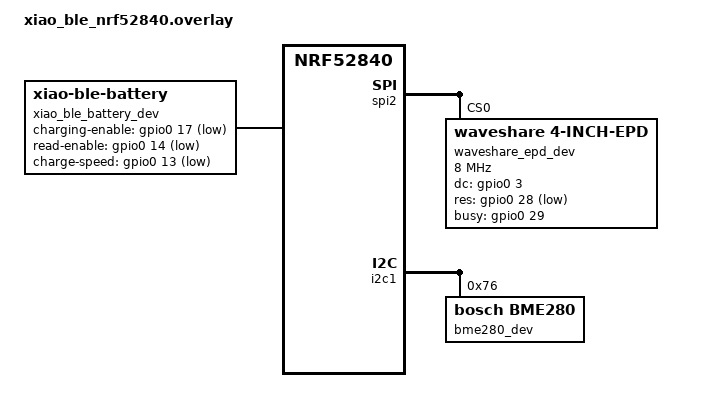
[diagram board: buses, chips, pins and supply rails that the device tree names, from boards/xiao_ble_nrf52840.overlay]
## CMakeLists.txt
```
cmake_minimum_required(VERSION 3.20.0)
find_package(Zephyr REQUIRED HINTS $ENV{ZEPHYR_BASE})

project(xiao-weather-frame)

file(GLOB src src/*.c)
target_sources(app PRIVATE ${src})
```

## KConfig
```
source "Kconfig.zephyr"

menu "XIAO Sense Weather Display Frame configuration"

config BT_CENTRAL_DEVICE_SUBSCRIBE
    bool "Subscribe to device attribute notifications; otherwise, use periodic polling"
    default y

config EPD_MAX_UPDATE_DELAY_MS 
    int "EPD maximum update delay in milliseconds"
    default 60000

config EPD_MIN_UPDATE_DELAY_MS
    int "EPD minimum update delay in milliseconds"
    default 5000

config SAMPLING_INTERVAL_REMOTE_MS
    int "Remote BT device periodic polling interval in milliseconds"
    default 300000

config SAMPLING_INTERVAL_LOCAL_MS
    int "Onboard sensors sampling interval in milliseconds"
    default 30000

config PRESSURE_OFFSET_HPA 
    int "Pressure offset in hPa"
    default 37
endmenu
```

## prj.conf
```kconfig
CONFIG_GPIO=y
CONFIG_ADC=y
CONFIG_SPI=y

CONFIG_SENSOR=y
CONFIG_SENSOR_ASYNC_API=y
CONFIG_BME280_MODE_FORCED=y

CONFIG_USB_DEVICE_STACK_NEXT=y
CONFIG_CDC_ACM_SERIAL_PRODUCT_STRING="XIAO-Weather-Frame"
CONFIG_CDC_ACM_SERIAL_PID=0x0006
CONFIG_CDC_ACM_SERIAL_VID=0x2FE3
CONFIG_CDC_ACM_SERIAL_INITIALIZE_AT_BOOT=y
# Fix: <err> udc: Failed to allocate net_buf 4095, ep 0x80
CONFIG_UDC_BUF_POOL_SIZE=8192

CONFIG_SERIAL=y
CONFIG_CONSOLE=y
CONFIG_LOG=y

CONFIG_BT=y
CONFIG_BT_CENTRAL=y
CONFIG_BT_SMP=y
CONFIG_BT_GATT_CLIENT=y
CONFIG_BT_CTLR_TX_PWR_DYNAMIC_CONTROL=y

CONFIG_BT_CENTRAL_DEVICE_SUBSCRIBE=n
```

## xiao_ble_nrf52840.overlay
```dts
/ {
    xiao_ble_battery_dev: xiao_ble_battery_dev {
        compatible = "xiao-ble-battery";
        charging-enable-gpios = <&gpio0 17 GPIO_ACTIVE_LOW>;
        read-enable-gpios = <&gpio0 14 GPIO_ACTIVE_LOW>;
        charge-speed-gpios = <&gpio0 13 GPIO_ACTIVE_LOW>;
        adc-channel = <NRF_SAADC_AIN7>;
        adc-total-samples = <12>;
        adc-filtering-algorithm = "trimmed-mean";
    };
};

&pwm0 {
    status = "disabled";
};

&spi2 {
    status = "okay";

    waveshare_epd_dev: waveshare_epd_dev@0 {
        compatible = "waveshare,4-inch-epd";
        status = "okay";
        reg = <0x0>;
        spi-max-frequency = <8000000>;
        cs-gpios = <&gpio0 2 GPIO_ACTIVE_LOW>;
        dc-gpios = <&gpio0 3 GPIO_ACTIVE_HIGH>;
        res-gpios = <&gpio0 28 GPIO_ACTIVE_LOW>;
        busy-gpios = <&gpio0 29 GPIO_ACTIVE_HIGH>;
    };
};
```

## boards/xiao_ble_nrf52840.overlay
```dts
/ {
    xiao_ble_battery_dev: xiao_ble_battery_dev {
        compatible = "xiao-ble-battery";
        charging-enable-gpios = <&gpio0 17 GPIO_ACTIVE_LOW>;
        read-enable-gpios = <&gpio0 14 GPIO_ACTIVE_LOW>;
        charge-speed-gpios = <&gpio0 13 GPIO_ACTIVE_LOW>;
        adc-channel = <NRF_SAADC_AIN7>;
        adc-total-samples = <12>;
        adc-filtering-algorithm = "trimmed-mean";
    };
};

&pwm0 {
    status = "disabled";
};

&spi2 {
    status = "okay";

    waveshare_epd_dev: waveshare_epd_dev@0 {
        compatible = "waveshare,4-inch-epd";
        status = "okay";
        reg = <0x0>;
        spi-max-frequency = <8000000>;
        cs-gpios = <&gpio0 2 GPIO_ACTIVE_LOW>;
        dc-gpios = <&gpio0 3 GPIO_ACTIVE_HIGH>;
        res-gpios = <&gpio0 28 GPIO_ACTIVE_LOW>;
        busy-gpios = <&gpio0 29 GPIO_ACTIVE_HIGH>;
    };
};

&i2c1 {
    bme280_dev: bme280@76 {
        compatible = "bosch,bme280";
        status = "okay";
        reg = <0x76>;
    };
};
```

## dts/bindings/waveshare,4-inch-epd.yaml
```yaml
description: Waveshare 4.2inch e-Paper display module bindings

compatible: "waveshare,4-inch-epd"

include: [spi-device.yaml]

properties:
  cs-gpios:
    type: phandle-array
    required: true
    description: |
      CS (chip select) gpio pin

  res-gpios:
    type: phandle-array
    required: true
    description: |
      RES (reset) gpio pin

  dc-gpios:
    type: phandle-array
    required: true
    description: |
      DC (data/command) gpio pin

  busy-gpios:
    type: phandle-array
    required: true
    description: |
      BUSY (busy) gpio 
```

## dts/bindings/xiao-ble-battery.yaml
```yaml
description: binding for XIAO BLE Battery Management Library

compatible: "xiao-ble-battery"

properties:
  charging-enable-gpios:
    type: phandle-array
    required: true
    description: |
      GPIO used to enable charging

  read-enable-gpios:
    type: phandle-array
    required: true
    description: GPIO used to enable the readout of the charging voltage

  charge-speed-gpios:
    type: phandle-array
    required: true
    description: GPIO used to select the charging speed (high = 100mA, low = 50mA)

  adc-input-id:
    type: int
    default: 7
    description: ADC channel id

  adc-gain:
    type: int
    default: 0
    description: ADC channel gain factor. ADC-reference * 6 = 3.6V

  adc-reference:
    type: int
    default: 4
    description: ADC reference. usually 0.6V.

  adc-channel:
    type: int
    required: true
    description: ADC channel to read out the battery voltage. Usually AIN7.

  adc-channel-id:
    type: int
    default: 7
    description: ADC channel to read out the battery voltage

  adc-resolution:
    type: int
    default: 12
    description: ADC resolution

  adc-sample-interval:
    type: int
    default: 500
    description: defines the time between each sample in [us].

  adc-total-samples:
    type: int
    default: 10
    description: |
      Change this to a higher number for better averages
      Note that increasing this holds up the thread / ADC for longer.

  adc-filtering-algorithm:
    type: string
    default: "average"
    description: ADC sample filtering algorithm
    enum:
      - "average"
      - "trimmed-mean"

  adc-acquisition-time:
      type: int
      default: 0
      description: ADC Acquisition time

  battery-callbacks-max:
      type: int
      default: 3
      description: |
        Defines the number of battery callbacks.
        Feel free to increas it if necessary.
```

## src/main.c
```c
#include <math.h>
#include <zephyr/bluetooth/bluetooth.h>
#include <zephyr/drivers/gpio.h>
#include <zephyr/kernel.h>
#include <zephyr/logging/log.h>

#include "battery.h"
#include "bme280.h"
#include "bt_central.h"
#include "epd.h"
#include "fonts.h"
#include "icons.h"
#include "sensor.h"

LOG_MODULE_REGISTER(main, LOG_LEVEL_INF);

static uint8_t frame_buffer[EPD_FRAME_BUFFER_SIZE] = {0};

static volatile bool local_battery_is_charging;
static volatile uint16_t local_battery_last_millivolt;
static volatile uint8_t local_battery_level;
static volatile int16_t local_temperature;
static volatile int16_t local_pressure;
static volatile int16_t local_humidity;

static volatile uint8_t remote_values_ready_mask = 0;
static volatile uint8_t remote_battery_level;
static volatile int16_t remote_temperature;
static volatile int16_t remote_humidity;
static volatile int16_t remote_pressure;

#define REMOTE_VALUES_ARE_READY() (remote_values_ready_mask == 0x0F)

static int local_battery_voltage_sample_once()
{
    int err;
    uint16_t battery_millivolt;
    uint8_t battery_level;

    err = battery_get_millivolt(&battery_millivolt);
    if (err) {
        LOG_ERR("Failed to get battery millivolts (err %d)", err);
        return err;
    }
    err = battery_get_percentage(&battery_level, battery_millivolt);
    if (err) {
        LOG_ERR("Failed to calculate battery percentage (err %d)", err);
        return err;
    }

    local_battery_level = battery_level;
    local_battery_last_millivolt = battery_millivolt;

    return 0;
}

static void local_battery_voltage_sample_callback(uint16_t millivolt)
{
    uint8_t percentage = 0;

    if (local_battery_is_charging && millivolt < local_battery_last_millivolt) {
        millivolt = local_battery_last_millivolt;
    } else if (!local_battery_is_charging && millivolt > local_battery_last_millivolt) {
        millivolt = local_battery_last_millivolt;
    }
    local_battery_last_millivolt = millivolt;

    int err = battery_get_percentage(&percentage, millivolt);
    if (err) {
        LOG_ERR("Failed to calculate battery percentage (err %d)", err);
        return;
    }
    local_battery_level = percentage;

    LOG_INF("Battery is at %d mV (capacity %d%%, %s)", millivolt, percentage,
            local_battery_is_charging ? "charging" : "discharging");
}

static void local_battery_charging_state_callback(bool connected)
{
    local_battery_is_charging = connected;
    LOG_INF("Charger %s", connected ? "connected" : "disconnected");
}

static void local_temperature_callback(int16_t value)
{
    local_temperature = value;
}

static void local_humidity_callback(int16_t value)
{
    local_humidity = value;
}

static void local_pressure_callback(int16_t value)
{
    local_pressure = value;
}

static void remote_battery_level_callback(uint8_t value)
{
    remote_battery_level = value;
    remote_values_ready_mask |= 0x01;
}

static void remote_temperature_callback(int16_t value)
{
    remote_temperature = value;
    remote_values_ready_mask |= 0x02;
}

static void remote_humidity_callback(int16_t value)
{
    remote_humidity = value;
    remote_values_ready_mask |= 0x04;
}

static void remote_pressure_callback(int16_t value)
{
    remote_pressure = value;
    remote_values_ready_mask |= 0x08;
}

static void remote_connection_callback(bool connected)
{
#if CONFIG_BT_CENTRAL_DEVICE_SUBSCRIBE
    if (!connected) {
        remote_values_ready_mask = 0;
    }
#endif
}

static void draw_static_icons(void)
{
    epd_draw_icon(&IconBattery, frame_buffer, 184, 10, EPD_COLOR_BLACK, true);
    epd_draw_icon(&IconTemperature, frame_buffer, 184, 80, EPD_COLOR_BLACK, true);
    epd_draw_icon(&IconHumidity, frame_buffer, 176, 150, EPD_COLOR_BLACK, true);
    epd_draw_icon(&IconPressure, frame_buffer, 280, 220, EPD_COLOR_BLACK, true);
    epd_draw_icon(&IconRemote, frame_buffer, 2, 8, EPD_COLOR_BLACK, true);
    epd_draw_icon(&IconLocal, frame_buffer, 332, 8, EPD_COLOR_BLACK, true);
}

static void draw_connection_icon(void)
{
    epd_draw_icon(&IconConnection, frame_buffer, 10, 250, EPD_COLOR_BLACK, true);
}

static void draw_charging_icon(void)
{
    epd_draw_icon(&IconCharge, frame_buffer, 358, 250, EPD_COLOR_BLACK, true);
}

static void draw_remote_values(void)
{
    char buff[16];
    uint8_t batt = remote_battery_level;
    int16_t temp = remote_temperature;
    int16_t hum = remote_humidity;
    int16_t press = remote_pressure;

    sprintf(buff, "%5u%%", batt);
    epd_draw_string(buff, &FontRobotoBold40, frame_buffer, 21, 20, EPD_COLOR_BLACK, false);

    sprintf(buff, "%+3i.%iC", SENSOR_VAL_FORMAT_SHORT(temp));
    epd_draw_string(buff, &FontRobotoBold40, frame_buffer, 21, 90, EPD_COLOR_BLACK, false);

    sprintf(buff, "%3i.%i%%", SENSOR_VAL_FORMAT_SHORT(hum));
    epd_draw_string(buff, &FontRobotoBold40, frame_buffer, 21, 160, EPD_COLOR_BLACK, false);

    sprintf(buff, "%4ihPa", press + CONFIG_PRESSURE_OFFSET_HPA);
    epd_draw_string(buff, &FontRobotoBold40, frame_buffer, 90, 230, EPD_COLOR_BLACK, false);
}

static void draw_local_values(void)
{
    char buff[16];
    uint8_t batt = local_battery_level;
    int16_t temp = local_temperature;
    int16_t hum = local_humidity;

    sprintf(buff, "%u%%", batt);
    epd_draw_string(buff, &FontRobotoBold40, frame_buffer, 228, 20, EPD_COLOR_BLACK, false);

    sprintf(buff, "%+i.%iC", SENSOR_VAL_FORMAT_SHORT(temp));
    epd_draw_string(buff, &FontRobotoBold40, frame_buffer, 228, 90, EPD_COLOR_BLACK, false);

    sprintf(buff, "%i.%i%%", SENSOR_VAL_FORMAT_SHORT(hum));
    epd_draw_string(buff, &FontRobotoBold40, frame_buffer, 228, 160, EPD_COLOR_BLACK, false);
}

int initialize(void)
{
    int err;

    err = bt_enable(NULL);
    if (err) {
        LOG_ERR("Unable to initialize Bluetooth (err %d)", err);
        return err;
    }

    err = bme280_init();
    if (err) {
        LOG_ERR("Failed to initialize bme280 device (error %d)", err);
        return err;
    }

    err = battery_init();
    if (err) {
        LOG_ERR("Failed to initialize battery management (error %d)", err);
        return err;
    }

    err = battery_register_charging_callback(local_battery_charging_state_callback);
    if (err) {
        LOG_ERR("Failed to register charging callback (error %d)", err);
        return err;
    }

    err = battery_register_sample_callback(local_battery_voltage_sample_callback);
    if (err) {
        LOG_ERR("Failed to register sample callback (error %d)", err);
        return err;
    }

    err = battery_set_fast_charge();
    if (err) {
        LOG_ERR("Failed to set battery fast charging (error %d)", err);
        return err;
    }

    bme280_register_temperature_callback(local_temperature_callback);
    bme280_register_humidity_callback(local_humidity_callback);
    bme280_register_pressure_callback(local_pressure_callback);
    err = bme280_sample_once();
    if (err) {
        LOG_ERR("Failed to read bme280 sensor data (error %d)", err);
        return err;
    }
    bme280_start_sampling(CONFIG_SAMPLING_INTERVAL_LOCAL_MS);

    local_battery_is_charging = battery_is_charging();
    err = local_battery_voltage_sample_once();
    if (err) {
        LOG_ERR("Failed to sample battery voltage (error %d)", err);
        return err;
    }
    battery_start_sampling(CONFIG_SAMPLING_INTERVAL_LOCAL_MS);

    bt_central_register_battery_level_callback(remote_battery_level_callback);
    bt_central_register_temperature_callback(remote_temperature_callback);
    bt_central_register_humidity_callback(remote_humidity_callback);
    bt_central_register_pressure_callback(remote_pressure_callback);
    bt_central_register_connection_callback(remote_connection_callback);

    return 0;
}

int main(void)
{
    int err;
    int epd_update_ticker = 0;
#ifndef CONFIG_BT_CENTRAL_DEVICE_SUBSCRIBE
    int bt_start_scan_ticker = 0;
#endif
    bool ready = false;
    bool charging = false;
    bool can_display_remote_values = false;
    bool remote_values_are_ready = false;

    err = initialize();
    if (err) {
        return err;
    }

#if CONFIG_BT_CENTRAL_DEVICE_SUBSCRIBE
    bt_central_start_scan();
#endif

    while (1) {
        remote_values_are_ready = REMOTE_VALUES_ARE_READY();
        if (remote_values_are_ready) {
            can_display_remote_values = true;
        }
        if (ready != remote_values_are_ready) {
            ready = remote_values_are_ready;
            epd_update_ticker = 0;
        }
        if (charging != local_battery_is_charging) {
            charging = local_battery_is_charging;
            epd_update_ticker = 0;
        }

        if (epd_update_ticker <= 0) {
            if (epd_init()) {
                LOG_ERR("Unable to initialize e-Paper display");
                return -EIO;
            }
            epd_fill(frame_buffer, EPD_COLOR_WHITE);
            if (can_display_remote_values) {
                draw_remote_values();
            }
            draw_local_values();
            draw_static_icons();
            if (!ready) {
                draw_connection_icon();
            }
            if (charging) {
                draw_charging_icon();
            }
            epd_display(frame_buffer);
            epd_sleep();
            epd_update_ticker = CONFIG_EPD_MAX_UPDATE_DELAY_MS / CONFIG_EPD_MIN_UPDATE_DELAY_MS;
        }

#ifndef CONFIG_BT_CENTRAL_DEVICE_SUBSCRIBE
        if (!bt_central_discovery_in_progress() && (bt_start_scan_ticker <= 0 || !REMOTE_VALUES_ARE_READY())) {
            bt_central_start_scan();
            remote_values_ready_mask = 0;
            bt_start_scan_ticker = CONFIG_SAMPLING_INTERVAL_REMOTE_MS / CONFIG_EPD_MIN_UPDATE_DELAY_MS;
        }
        bt_start_scan_ticker--;
#endif
        epd_update_ticker--;

        k_msleep(CONFIG_EPD_MIN_UPDATE_DELAY_MS);
    }

    return 0;
}
```

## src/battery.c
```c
/*
 * Copyright 2024 Marcus Alexander Tjomsaas
 *
 * Licensed under the Apache License, Version 2.0 (the "License");
 * you may not use this file except in compliance with the License.
 * You may obtain a copy of the License at
 *
 *     http://www.apache.org/licenses/LICENSE-2.0
 *
 * Unless required by applicable law or agreed to in writing, software
 * distributed under the License is distributed on an "AS IS" BASIS,
 * WITHOUT WARRANTIES OR CONDITIONS OF ANY KIND, either express or implied.
 * See the License for the specific language governing permissions and
 * limitations under the License.
 */

#include "battery.h"

#include <zephyr/kernel.h>
#include <zephyr/device.h>
#include <zephyr/devicetree.h>
#include <zephyr/drivers/gpio.h>
#include <zephyr/drivers/adc.h>
#include <zephyr/logging/log.h>

LOG_MODULE_REGISTER(battery, LOG_LEVEL_INF);

#if !DT_NODE_EXISTS(DT_NODELABEL(xiao_ble_battery_dev))
#error "Overlay for xiao_ble_battery_dev node not properly defined."
#endif

#define BATTERY_NODE DT_NODELABEL(xiao_ble_battery_dev)
#define BATTERY_CALLBACK_MAX DT_PROP(BATTERY_NODE, battery_callbacks_max)

// Change this to a higher number for better averages
// Note that increasing this holds up the thread / ADC for longer.
#define ADC_TOTAL_SAMPLES DT_PROP(BATTERY_NODE, adc_total_samples)

//--------------------------------------------------------------
// ADC setup

#define ADC_FILTERING_ALGORITHM_AVERAGE       0
#define ADC_FILTERING_ALGORITHM_TRIMMED_MEAN  1

#define ADC_RESOLUTION          DT_PROP(BATTERY_NODE, adc_resolution) 
#define ADC_CHANNEL             DT_PROP(BATTERY_NODE, adc_channel_id) 
#define ADC_PORT                DT_PROP(BATTERY_NODE, adc_channel) 
#define ADC_REFERENCE           DT_PROP(BATTERY_NODE, adc_reference)
#define ADC_GAIN                DT_PROP(BATTERY_NODE, adc_gain) 
#define ADC_SAMPLE_INTERVAL_US  DT_PROP(BATTERY_NODE, adc_sample_interval)
#define ADC_ACQUISITION_TIME    DT_PROP(BATTERY_NODE, adc_acquisition_time) 
#define ADC_FILTERING_ALGORITHM DT_ENUM_IDX(BATTERY_NODE, adc_filtering_algorithm)

#if ADC_FILTERING_ALGORITHM == ADC_FILTERING_ALGORITHM_TRIMMED_MEAN
#include <stdlib.h>
#endif

static struct adc_channel_cfg channel_7_cfg = {
    .gain = ADC_GAIN,
    .reference = ADC_REFERENCE,
    .acquisition_time = ADC_ACQUISITION_TIME,
    .channel_id = ADC_CHANNEL,
#ifdef CONFIG_ADC_NRFX_SAADC
    .input_positive = ADC_PORT
#endif
};

static struct adc_sequence_options options = {
    .extra_samplings = ADC_TOTAL_SAMPLES - 1,
    .interval_us = ADC_SAMPLE_INTERVAL_US,
};

static int16_t sample_buffer[ADC_TOTAL_SAMPLES];
static struct adc_sequence sequence = {
    .options = &options,
    .channels = BIT(ADC_CHANNEL),
    .buffer = sample_buffer,
    .buffer_size = sizeof(sample_buffer),
    .resolution = ADC_RESOLUTION,
};

//--------------------------------------------------------------
// Local variables

// MCU peripherals for reading battery voltage
static const struct device *adc_battery_dev = DEVICE_DT_GET(DT_NODELABEL(adc));

static const struct gpio_dt_spec charging_enable = GPIO_DT_SPEC_GET_OR(BATTERY_NODE, charging_enable_gpios, {0});
static const struct gpio_dt_spec read_enable = GPIO_DT_SPEC_GET_OR(BATTERY_NODE, read_enable_gpios, {0});
static const struct gpio_dt_spec charge_speed = GPIO_DT_SPEC_GET_OR(BATTERY_NODE, charge_speed_gpios, {0});

// Battery work and work queue
static struct k_work_delayable sample_periodic_work;
static struct k_work sample_once_work;

// Charging interrupt
static struct gpio_callback charging_callback;
static struct k_work charging_interrupt_work;

// Callbacks for change in charging
static battery_charging_callback_t charging_callbacks[BATTERY_CALLBACK_MAX];
static size_t charging_callbacks_registered = 0;

// Callbacks for when a battery sample is ready
static battery_sample_callback_t sample_ready_callback[BATTERY_CALLBACK_MAX];
static size_t sample_ready_callbacks_registered = 0;

static uint32_t sampling_interval_ms;
static uint8_t is_initialized = false;

static K_MUTEX_DEFINE(battery_mut);

typedef struct
{
    uint16_t voltage;
    uint8_t percentage;
} BatteryState;

#define BATTERY_STATES_COUNT 11
// Voltage levels in millivolts and corresponding percentages for a typical LiPo battery.
// Adjust these values based on your battery's datasheet for better accuracy.
static BatteryState battery_states[BATTERY_STATES_COUNT] = {
    {4200, 100}, // Fully charged
    {4110, 90},
    {4020, 80},
    {3930, 70},
    {3840, 60},
    {3750, 50},
    {3660, 40},
    {3570, 30},
    {3480, 20},
    {3390, 10},
    {3300, 0} // Minimum safe voltage
};

//------------------------------------------------------------------------------------------
// Private functions

static int battery_enable_read()
{
    return gpio_pin_set_dt(&read_enable, 1);
}

static void run_charging_callbacks(struct k_work *work)
{
    bool is_charging = gpio_pin_get_dt(&charging_enable);
    LOG_DBG("Charger %s", is_charging ? "connected" : "disconnected");

    for (uint8_t callback = 0; callback < charging_callbacks_registered; callback++)
    {
        charging_callbacks[callback](is_charging);
    }
}

static void run_sample_ready_callbacks(uint32_t millivolt)
{

    for (uint8_t callback = 0; callback < sample_ready_callbacks_registered; callback++)
    {
        sample_ready_callback[callback](millivolt);
    }
}

static void charging_callback_handler(const struct device *dev,
                                      struct gpio_callback *cb,
                                      uint32_t pins)
{
    k_work_submit(&charging_interrupt_work);
}

static void sample_periodic_handler(struct k_work *work)
{
    uint16_t millivolt;
    int ret = battery_get_millivolt(&millivolt);
    if (ret)
    {
        LOG_ERR("Failed to get battery voltage");
        goto reschedule;
    }

    // Run all the callbacks waiting for a voltage reading.
    run_sample_ready_callbacks(millivolt);

reschedule:
    k_work_reschedule(&sample_periodic_work, K_MSEC(sampling_interval_ms));
}

static void sample_once_handler(struct k_work *work)
{
    uint16_t millivolt;
    int ret = battery_get_millivolt(&millivolt);
    if (ret)
    {
        LOG_ERR("Failed to get battery voltage");
        return;
    }

    // Run all the callbacks waiting for voltage readings.
    run_sample_ready_callbacks(millivolt);
}

#if ADC_FILTERING_ALGORITHM == ADC_FILTERING_ALGORITHM_TRIMMED_MEAN
static int sample_buffer_compare(const void *a, const void *b)
{
    return (*(int16_t*)a - *(int16_t*)b);
}
#endif

//------------------------------------------------------------------------------------------
// Public functions

int battery_register_charging_callback(battery_charging_callback_t callback)
{
    if (charging_callbacks_registered == BATTERY_CALLBACK_MAX)
    {
        LOG_ERR("Maximum number of callbacks reached, operation aborted");
        return -ENOMEM;
    }

    charging_callbacks[charging_callbacks_registered++] = callback;

    return 0;
}

int battery_register_sample_callback(battery_sample_callback_t callback)
{
    if (sample_ready_callbacks_registered == BATTERY_CALLBACK_MAX)
    {
        LOG_ERR("Maximum number of callbacks reached, operation aborted");
        return -ENOMEM;
    }

    sample_ready_callback[sample_ready_callbacks_registered++] = callback;
    return 0;
}

int battery_set_fast_charge()
{
    if (!is_initialized)
    {
        return -ECANCELED;
    }

    return gpio_pin_set_dt(&charge_speed, 1); // FAST charge 100mA
}

int battery_set_slow_charge()
{
    if (!is_initialized)
    {
        return -ECANCELED;
    }

    return gpio_pin_set_dt(&charge_speed, 0); // SLOW charge 50mA
}

int battery_get_millivolt(uint16_t *battery_millivolt)
{

    int ret = 0;

    // Voltage divider circuit (Should tune R1 in software if possible)
    const uint16_t R1 = 1037; // Originally 1M ohm, calibrated after measuring actual voltage values. Can happen due to resistor tolerances, temperature ect..
    const uint16_t R2 = 510;  // 510K ohm

    // ADC measure
    uint16_t adc_vref = adc_ref_internal(adc_battery_dev);

    ret = k_mutex_lock(&battery_mut, K_SECONDS(10));
    if (ret < 0)
    {
        LOG_ERR("Cannot get battery voltage as mutex is locked");
        return ret;
    }

    ret |= adc_read(adc_battery_dev, &sequence);

    if (ret)
    {
        LOG_WRN("ADC read failed (error %d)", ret);
    }

    uint32_t adc_sum = 0;
    #if ADC_FILTERING_ALGORITHM == ADC_FILTERING_ALGORITHM_TRIMMED_MEAN
    // Get 25% trimmed mean sample value.
    qsort(sample_buffer, ADC_TOTAL_SAMPLES, sizeof(int16_t), sample_buffer_compare);
    for (uint8_t sample = ADC_TOTAL_SAMPLES / 4; sample < ADC_TOTAL_SAMPLES / 4 + ADC_TOTAL_SAMPLES / 2; sample++)
    {
        adc_sum += sample_buffer[sample]; // ADC value, not millivolt yet.
    }
    uint32_t adc_average = adc_sum / (ADC_TOTAL_SAMPLES / 2);
    #else
    // Get average sample value.
    for (uint8_t sample = 0; sample < ADC_TOTAL_SAMPLES; sample++)
    {
        adc_sum += sample_buffer[sample]; // ADC value, not millivolt yet.
    }
    uint32_t adc_average = adc_sum / ADC_TOTAL_SAMPLES;
    #endif

    // Convert ADC value to millivolts
    uint32_t adc_mv = adc_average;
    ret |= adc_raw_to_millivolts(adc_vref, ADC_GAIN, ADC_RESOLUTION, &adc_mv);

    // Calculate battery voltage.
    float scale_factor = ((float)(R1 + R2)) / R2;
    *battery_millivolt = (uint16_t)(adc_mv * scale_factor);

    k_mutex_unlock(&battery_mut);

    LOG_DBG("%d mV", *battery_millivolt);
    return ret;
}

int battery_get_percentage(uint8_t *battery_percentage, uint16_t battery_millivolt)
{
    // Ensure voltage is within bounds
    if (battery_millivolt >= battery_states[0].voltage)
    {
        *battery_percentage = 100;
        return 0;
    }
    else if (battery_millivolt <= battery_states[BATTERY_STATES_COUNT - 1].voltage)
    {
        *battery_percentage = 0;
        return 0;
    }

    for (uint16_t i = 0; i < BATTERY_STATES_COUNT - 1; i++)
    {
        uint16_t voltage_high = battery_states[i].voltage;
        uint16_t voltage_low = battery_states[i + 1].voltage;

        // Find the two points between which battery_millivolt lies
        if (battery_millivolt <= voltage_high && battery_millivolt >= voltage_low)
        {
            uint8_t percentage_high = battery_states[i].percentage;
            uint8_t percentage_low = battery_states[i + 1].percentage;

            int32_t voltage_range = voltage_high - voltage_low;          // Should be positive
            int32_t percentage_range = percentage_high - percentage_low; // Should be positive
            int32_t voltage_diff = battery_millivolt - voltage_low;      // Non-negative

            if (voltage_range == 0)
            {
                *battery_percentage = percentage_high;
            }
            else
            {
                *battery_percentage = percentage_low + (voltage_diff * percentage_range) / voltage_range;
            }

            LOG_DBG("%d %%", *battery_percentage);
            return 0;
        }
    }

    // If voltage is not within any defined range
    return -ESPIPE;
}

int battery_start_sampling(uint32_t interval_ms)
{
    if (interval_ms == 0)
    {
        LOG_ERR("Sampling interval must be greater than zero");
        return -EINVAL;
    }

    sampling_interval_ms = interval_ms;
    k_work_schedule(&sample_periodic_work, K_MSEC(interval_ms));

    LOG_INF("Start sampling battery voltage at %d ms", interval_ms);
    return 0;
}

int battery_stop_sampling(void)
{
    k_work_cancel_delayable(&sample_periodic_work);
    LOG_INF("Stopped periodic sampling of battery voltage");
    return 0;
}

int battery_sample_once(void)
{
    k_work_submit(&sample_once_work);
    return 0;
}

bool battery_is_charging(void)
{
    return gpio_pin_get_dt(&charging_enable);
}

int battery_init()
{
    int ret = 0;

    // ADC setup
    if (!device_is_ready(adc_battery_dev))
    {
        LOG_ERR("ADC device not found!");
        return -EIO;
    }

    ret |= adc_channel_setup(adc_battery_dev, &channel_7_cfg);
    if (ret)
    {
        LOG_ERR("ADC setup failed (error %d)", ret);
        return ret;
    }

    // GPIO setup
    if (!gpio_is_ready_dt(&charging_enable))
    {
        LOG_ERR("GPIO charging_enable not found!");
        return -EIO;
    }

    if (!gpio_is_ready_dt(&read_enable))
    {
        LOG_ERR("GPIO read_enable not found!");
        return -EIO;
    }

    if (!gpio_is_ready_dt(&charge_speed))
    {
        LOG_ERR("GPIO charge_speed not found!");
        return -EIO;
    }

    ret |= gpio_pin_configure_dt(&charging_enable, GPIO_INPUT | GPIO_ACTIVE_LOW);
    if (ret)
    {
        LOG_ERR("Failed to configure GPIO_BATTERY_CHARGING_ENABLE pin (error %d)", ret);
        return ret;
    }

    ret |= gpio_pin_interrupt_configure_dt(&charging_enable, GPIO_INT_EDGE_BOTH);
    if (ret)
    {
        LOG_ERR("Failed to configure GPIO_BATTERY_CHARGING_ENABLE pin interrupt (error %d)", ret);
        return ret;
    }

    ret |= gpio_pin_configure_dt(&read_enable, GPIO_OUTPUT | GPIO_ACTIVE_LOW);
    if (ret)
    {
        LOG_ERR("Failed to configure GPIO_BATTERY_READ_ENABLE pin (error %d)", ret);
        return ret;
    }
    ret |= gpio_pin_configure_dt(&charge_speed, GPIO_OUTPUT | GPIO_ACTIVE_LOW);
    if (ret)
    {
        LOG_ERR("Failed to configure GPIO_BATTERY_CHARGE_SPEED pin (error %d)", ret);
        return ret;
    }

    // Battery workers
    k_work_init_delayable(&sample_periodic_work, sample_periodic_handler);
    k_work_init(&sample_once_work, sample_once_handler);

    // Charger interrupt setup
    k_work_init(&charging_interrupt_work, run_charging_callbacks);
    gpio_init_callback(&charging_callback, charging_callback_handler,
                       BIT(charging_enable.pin));
    gpio_add_callback_dt(&charging_enable, &charging_callback);

    // Lets check the current charging status
    bool is_charging = gpio_pin_get_dt(&charging_enable);
    LOG_INF("Charger %s", is_charging ? "connected" : "disconnected");

    is_initialized = true;
    LOG_INF("Initialized");

    // Get ready for battery charging and sampling
    ret |= battery_set_fast_charge();
    if (ret)
    {
        LOG_ERR("Failed to set fast charging (error %d)", ret);
        return ret;
    }

    ret |= battery_enable_read();
    if (ret)
    {
        LOG_ERR("Failed to enable battery reading (error %d)", ret);
        return ret;
    }

    return 0;
}
```

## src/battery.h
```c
/*
 * Copyright 2024 Marcus Alexander Tjomsaas
 *
 * Licensed under the Apache License, Version 2.0 (the "License");
 * you may not use this file except in compliance with the License.
 * You may obtain a copy of the License at
 *
 *     http://www.apache.org/licenses/LICENSE-2.0
 *
 * Unless required by applicable law or agreed to in writing, software
 * distributed under the License is distributed on an "AS IS" BASIS,
 * WITHOUT WARRANTIES OR CONDITIONS OF ANY KIND, either express or implied.
 * See the License for the specific language governing permissions and
 * limitations under the License.
 */

#ifndef __BATTERY_H__
#define __BATTERY_H__

#include <stdbool.h>
#include <stdint.h>

// Callback function type definitions
typedef void (*battery_charging_callback_t)(bool is_charging);
typedef void (*battery_sample_callback_t)(uint16_t millivolt);

/**
 * @brief Register a callback function that is executed every time the charging state changes.
 *
 * @retval 0 if successful. Negative errno number on error.
 *
 * @note If the error is -12, try increasing the BATTERY_CALLBACK_MAX define in the library.
 */
int battery_register_charging_callback(battery_charging_callback_t callback);

/**
 * @brief Register a callback function that is executed every time a voltage sample is ready.
 *
 * @retval 0 if successful. Negative errno number on error.
 *
 * @note If the error is -12, try increasing the BATTERY_CALLBACK_MAX define in the library.
 */
int battery_register_sample_callback(battery_sample_callback_t callback);

/**
 * @brief Set battery charging to fast charge (100mA).
 *
 * @retval 0 if successful. Negative errno number on error.
 */
int battery_set_fast_charge(void);

/**
 * @brief Set battery charging to slow charge (50mA).
 *
 * @retval 0 if successful. Negative errno number on error.
 */
int battery_set_slow_charge(void);

/**
 * @brief Get the current battery voltage in millivolts.
 *
 * @param[out] battery_millivolt Pointer where the battery voltage will be stored.
 *
 * @retval 0 if successful. Negative errno number on error.
 */
int battery_get_millivolt(uint16_t *battery_millivolt);

/**
 * @brief Calculate the battery percentage based on the voltage.
 *
 * @param[out] battery_percentage Pointer where the battery percentage will be stored.
 * @param[in] battery_millivolt Voltage reading to calculate the percentage from.
 *
 * @retval 0 if successful. Negative errno number on error.
 */
int battery_get_percentage(uint8_t *battery_percentage, uint16_t battery_millivolt);

/**
 * @brief Start periodic sampling of the battery voltage.
 *
 * @param[in] interval_ms Sampling interval in milliseconds.
 *
 * @retval 0 if successful. Negative errno number on error.
 *
 * @note Registered sample callbacks are called when a new sample is ready.
 */
int battery_start_sampling(uint32_t interval_ms);

/**
 * @brief Stop periodic sampling of the battery voltage.
 *
 * @retval 0 if successful. Negative errno number on error.
 */
int battery_stop_sampling(void);

/**
 * @brief Take a one-time battery voltage sample.
 *
 * @retval 0 if successful. Negative errno number on error.
 *
 * @note Registered sample callbacks are called when the sample is ready.
 */
int battery_sample_once(void);

/**
 * @brief Check if battery charging.
 *
 * @retval true if charging
 */
bool battery_is_charging(void);

/**
 * @brief Initialize the battery management system.
 *
 * @retval 0 if successful. Negative errno number on error.
 */
int battery_init(void);

#endif
```

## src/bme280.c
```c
#include "bme280.h"

#include <math.h>
#include <zephyr/drivers/sensor.h>
#include <zephyr/drivers/sensor_data_types.h>
#include <zephyr/logging/log.h>

#include "sensor.h"

LOG_MODULE_REGISTER(bme280, LOG_LEVEL_INF);

static const struct device* const bme280_dev = DEVICE_DT_GET(DT_NODELABEL(bme280_dev));
SENSOR_DT_READ_IODEV(bme280_iodev, DT_NODELABEL(bme280_dev), {SENSOR_CHAN_AMBIENT_TEMP, 0}, {SENSOR_CHAN_HUMIDITY, 0},
                     {SENSOR_CHAN_PRESS, 0});
RTIO_DEFINE(bme280_ctx, 1, 1);
static const struct sensor_decoder_api* decoder;
static struct k_work_delayable sample_periodic_work;

static uint32_t sampling_interval_ms;

static bme280_temperature_callback_t temperature_callback = NULL;
static bme280_humidity_callback_t humidity_callback = NULL;
static bme280_pressure_callback_t pressure_callback = NULL;

static int16_t sensor_q31_data_to_int16_attr(struct sensor_q31_data* data, uint8_t pow)
{
    float32_t v = data->readings[0].value;
    int8_t s = data->shift;

    return v / (1 << (31 - s)) * powf(10.0f, (float32_t)pow);
}

int bme280_sample_once()
{
    uint8_t buff[32];
    uint32_t temp_fit = 0;
    uint32_t press_fit = 0;
    uint32_t hum_fit = 0;
    struct sensor_q31_data temp_data = {0};
    struct sensor_q31_data press_data = {0};
    struct sensor_q31_data hum_data = {0};
    int16_t temperature = 0;
    int16_t pressure = 0;
    int16_t humidity = 0;
    int err;

    err = sensor_read(&bme280_iodev, &bme280_ctx, buff, sizeof(buff));
    if (err) {
        LOG_ERR("Failed to read sensor data (error %d)", err);
        return err;
    }

    err = sensor_get_decoder(bme280_dev, &decoder);
    if (err) {
        LOG_ERR("Failed to get sensor's decoder API (error %d)", err);
        return err;
    }

    decoder->decode(buff, (struct sensor_chan_spec){SENSOR_CHAN_AMBIENT_TEMP, 0}, &temp_fit, 1, &temp_data);
    decoder->decode(buff, (struct sensor_chan_spec){SENSOR_CHAN_PRESS, 0}, &press_fit, 1, &press_data);
    decoder->decode(buff, (struct sensor_chan_spec){SENSOR_CHAN_HUMIDITY, 0}, &hum_fit, 1, &hum_data);

    temperature = sensor_q31_data_to_int16_attr(&temp_data, 2);
    pressure = sensor_q31_data_to_int16_attr(&press_data, 1);
    humidity = sensor_q31_data_to_int16_attr(&hum_data, 2);

    if (temperature_callback != NULL) {
        temperature_callback(temperature);
    }
    if (pressure_callback != NULL) {
        pressure_callback(pressure);
    }
    if (humidity_callback != NULL) {
        humidity_callback(humidity);
    }

    LOG_INF("Temp: %i.%02i DegC; Press: %i hPa; Humidity: %i.%02i %%RH", SENSOR_VAL_FORMAT(temperature), pressure,
            SENSOR_VAL_FORMAT(humidity));

    return 0;
}

static void bm280_sample_periodic_handler(struct k_work* work)
{
    bme280_sample_once();
    k_work_reschedule(&sample_periodic_work, K_MSEC(sampling_interval_ms));
}

void bme280_start_sampling(uint32_t interval_ms)
{
    sampling_interval_ms = interval_ms;
    k_work_init_delayable(&sample_periodic_work, bm280_sample_periodic_handler);
    k_work_schedule(&sample_periodic_work, K_MSEC(sampling_interval_ms));
}

void bme280_register_temperature_callback(bme280_temperature_callback_t callback)
{
    temperature_callback = callback;
}

void bme280_register_humidity_callback(bme280_humidity_callback_t callback)
{
    humidity_callback = callback;
}

void bme280_register_pressure_callback(bme280_pressure_callback_t callback)
{
    pressure_callback = callback;
}

int bme280_init()
{
    if (bme280_dev == NULL) {
        LOG_ERR("No bme280 device found");
        return -ENXIO;
    }

    if (!device_is_ready(bme280_dev)) {
        LOG_ERR("bme280 device is not ready");
        return -EIO;
    }

    return 0;
}
```

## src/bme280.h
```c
#ifndef __BME280_H__
#define __BME280_H__

#include <stdint.h>

typedef void (*bme280_temperature_callback_t)(int16_t value);
typedef void (*bme280_humidity_callback_t)(int16_t value);
typedef void (*bme280_pressure_callback_t)(int16_t value);

int bme280_init();
void bme280_register_temperature_callback(bme280_temperature_callback_t callback);
void bme280_register_humidity_callback(bme280_humidity_callback_t callback);
void bme280_register_pressure_callback(bme280_pressure_callback_t callback);
int bme280_sample_once();
void bme280_start_sampling(uint32_t interval_ms);

#endif  //__BME280_H__
```

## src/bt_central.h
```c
#ifndef __BT_CENTRAL_H__
#define __BT_CENTRAL_H__

#include <stdbool.h>
#include <stdint.h>

#define BT_CENTRAL_SCAN_TX_POWER_LEVEL_DB 0
#define BT_CENTRAL_CONN_TX_POWER_LEVEL_DB 8

int bt_central_start_scan(void);

typedef void (*device_battery_level_callback_t)(uint8_t value);
typedef void (*device_temperature_callback_t)(int16_t value);
typedef void (*device_humidity_callback_t)(int16_t value);
typedef void (*device_pressure_callback_t)(int16_t value);
typedef void (*device_connection_callback_t)(bool connected);

bool bt_central_discovery_in_progress(void);
void bt_central_register_battery_level_callback(device_battery_level_callback_t callback);
void bt_central_register_temperature_callback(device_temperature_callback_t callback);
void bt_central_register_humidity_callback(device_humidity_callback_t callback);
void bt_central_register_pressure_callback(device_pressure_callback_t callback);
void bt_central_register_connection_callback(device_connection_callback_t callback);

#endif  //__BT_CENTRAL_H__
```

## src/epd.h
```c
#ifndef __EPD_H__
#define __EPD_H__

#include <stdbool.h>
#include <stdint.h>

#include "fonts.h"
#include "icons.h"

#define EPD_WIDTH 400
#define EPD_HEIGHT 300
#define EPD_FRAME_BUFFER_SIZE ((EPD_WIDTH * EPD_HEIGHT) / 8)

typedef enum {
    EPD_COLOR_BLACK = 0,
    EPD_COLOR_WHITE = 1,
} epd_color_t;

int epd_init(void);
void epd_clear(void);
void epd_display(uint8_t* image);
void epd_sleep(void);

void epd_fill(uint8_t* buffer, epd_color_t color);
void epd_draw_char(const char ch, const sFONT* font, uint8_t* buffer, int16_t x, int16_t y, epd_color_t color,
                   bool transparent);
void epd_draw_string(const char* str, const sFONT* font, uint8_t* buffer, int16_t x, int16_t y, epd_color_t color,
                     bool transparent);
void epd_draw_icon(const sICON* icon, uint8_t* buffer, int16_t x, int16_t y, epd_color_t color, bool transparent);
void epd_draw_image(const uint8_t* image, uint8_t* buffer, uint16_t width, uint16_t height, int16_t x, int16_t y,
                    epd_color_t color, bool transparent);
void epd_draw_pixel(uint8_t* buffer, int16_t x, int16_t y, epd_color_t color);
void epd_draw_line(uint8_t* buffer, int16_t from_x, int16_t from_y, int16_t to_x, int16_t to_y, epd_color_t color);
void epd_draw_rectangle(uint8_t* buffer, int16_t from_x, int16_t from_y, int16_t to_x, int16_t to_y, epd_color_t color,
                        bool fill);
void epd_draw_circle(uint8_t* buffer, int16_t x, int16_t y, int16_t radius, epd_color_t color, bool fill);

#endif  //__EPD_H__
```
